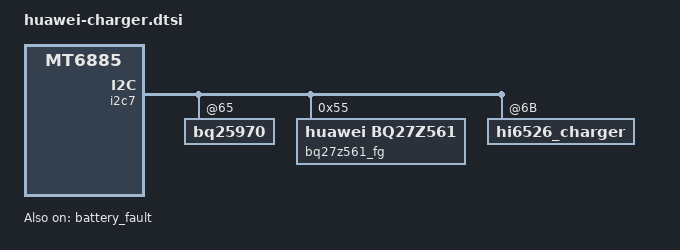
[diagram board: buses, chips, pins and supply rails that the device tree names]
#include "../huawei_charger/mt6885_abr_huawei_charger.dtsi"

&i2c7 {
	bq25970@65 {
		ic_role = <1>;
	};

	rt9426_battery@55{
		status = "disabled";
	};

	bq27z561_fg@55 {
		reg = <0x55>;
		compatible = "huawei,bq27z561";
		status = "ok";
	};

	sm5450@6F {
		status = "disabled";
	};

	hi6526_charger@6B{
		status = "ok";
	};
};

&direct_charge_ic {
	ic_para1 =
		"0", "0", "0", "0", "0";
};

&direct_charger_sc {
	single_ic_ibat_th = <8000>;
	current_ratio =
		"3", "5", "20", "2", "-1",
		"3", "5", "20", "1", "8000",
		"0", "5", "20", "0", "0";
};

&battery_fault {
	vol_cutoff_normal = <2900>;
	vol_cutoff_sleep = <3100>;
	vol_cutoff_low_temp = <2800>;
	status = "ok";
};
